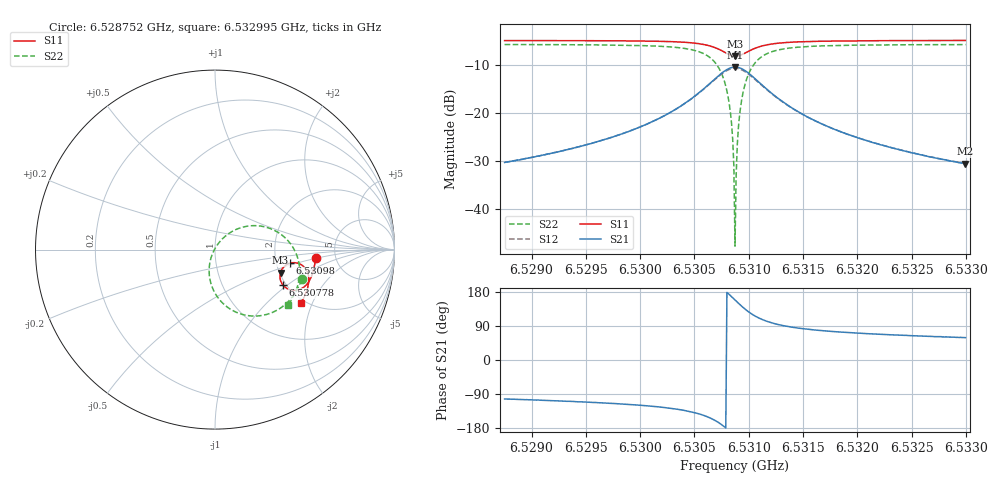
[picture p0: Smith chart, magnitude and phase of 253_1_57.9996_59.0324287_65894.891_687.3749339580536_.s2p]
#  HZ  S  RI  R  50.00
! Rohde & Schwarz Vector Network Analyzer
! Rohde-Schwarz,ZNB20-2Port,1311601062101988,3.16
! Created: UTC 3/21/2024, 1:01:39 AM
! freq[Hz]  re:S11  im:S11  re:S21  im:S21  re:S12  im:S12  re:S22  im:S22
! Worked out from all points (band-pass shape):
!   401 points, 6.528752 GHz to 6.532995 GHz, reference 50 ohm
!   highest |S21| = -10.52 dB at 6.530874 GHz (marker M1); lowest = -30.6 dB at 6.532995 GHz (marker M2)
!   |S21| within 3 dB of the highest: 6.530662 GHz to 6.531086 GHz (424 kHz wide, 0.00649 % of centre)
!   lowest |S11| = -8.2 dB at 6.530874 GHz (marker M3), VSWR 2.26, Z = 101 - j30.6 ohm
!   |S11| at or under -10 dB: nowhere
!   |S22| runs from -47.8 to -5.8 dB; largest |S21 - S12| = 0.012
!   S11 on the Smith chart (normalised r, x): 6.528752 GHz: 3.50, -0.48; 6.530778 GHz: 1.92, -0.92; 6.53098 GHz: 2.38, -0.44; 6.532995 GHz: 1.88, -1.65
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6.5287522e9  0.5601 -0.0468  -0.00676 -0.0295  -0.0073 -0.0294  0.4836 -0.1664
6.5294629e9  0.5511 -0.1057  -0.0157 -0.042  -0.0167 -0.0417  0.4528 -0.2304
6.5301736e9  0.5242 -0.1759  -0.0484 -0.0723  -0.0504 -0.0706  0.373 -0.3197
6.5305979e9  0.4557 -0.2263  -0.1531 -0.0978  -0.1554 -0.0914  0.1719 -0.3657
6.530704e9  0.4117 -0.2221  -0.2208 -0.0724  -0.2202 -0.0631  0.0578 -0.3117
6.5307783e9  0.3773 -0.1959  -0.2709 -0.0156  -0.2655 -0.00582  -0.0165 -0.2073
6.5308101e9  0.3667 -0.1765  -0.2841 0.0219  -0.2764 0.0306  -0.0316 -0.1429
6.5308313e9  0.3627 -0.1612  -0.2875 0.0504  -0.2784 0.0576  -0.0318 -0.0955
6.5308419e9  0.362 -0.1531  -0.2871 0.0652  -0.2775 0.0715  -0.0285 -0.0715
6.5308525e9  0.3621 -0.1448  -0.2853 0.0801  -0.2752 0.0857  -0.0227 -0.0474
6.5308631e9  0.3629 -0.1366  -0.2821 0.0947  -0.2715 0.0995  -0.0145 -0.0239
6.5308737e9  0.365 -0.1284  -0.2772 0.1093  -0.2666 0.1129  -0.00385 -0.0013
6.5308843e9  0.3676 -0.1205  -0.2709 0.1231  -0.2603 0.1258  0.0087 0.0202
6.530895e9  0.3712 -0.113  -0.2633 0.1363  -0.253 0.1382  0.0235 0.0403
6.5309056e9  0.3754 -0.106  -0.2547 0.1486  -0.2445 0.1495  0.0398 0.0586
6.5309268e9  0.386 -0.0938  -0.2344 0.1698  -0.225 0.1691  0.0769 0.0895
6.5309798e9  0.4181 -0.0756  -0.1757 0.201  -0.1691 0.1982  0.1791 0.1302
6.5310541e9  0.4598 -0.0754  -0.1025 0.2032  -0.099 0.2004  0.3016 0.1196
6.5311601e9  0.4964 -0.0972  -0.0395 0.1734  -0.0377 0.1717  0.4032 0.0535
6.5315845e9  0.5225 -0.1761  0.015 0.0837  0.016 0.0835  0.4717 -0.1342
6.5322952e9  0.504 -0.2481  0.0173 0.0401  0.018 0.0398  0.4426 -0.2489
6.5329953e9  0.4775 -0.3003  0.0151 0.0252  0.0156 0.0249  0.4071 -0.3086
